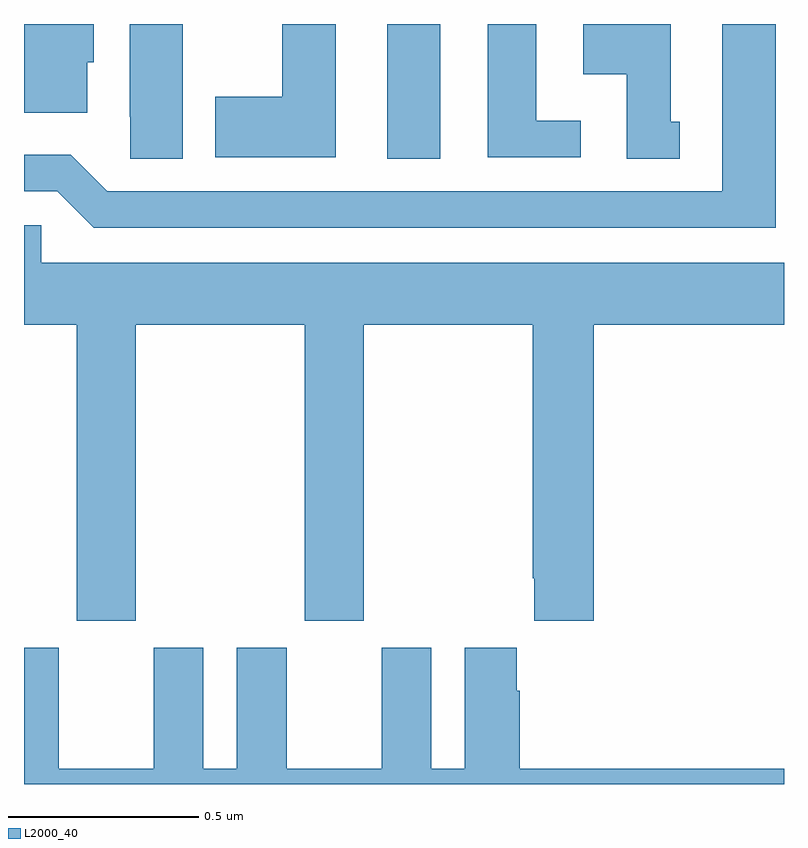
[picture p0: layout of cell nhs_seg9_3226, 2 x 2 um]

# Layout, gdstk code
import gdstk
lib = gdstk.Library(unit=1e-6, precision=1e-09)
def R(c, l, rs):  # rectangles x0, y0, x1, y1
    for r in rs: c.add(gdstk.rectangle(r[:2], r[2:], *l))
def P(c, l, *ps):  # polygons
    for p in ps: c.add(gdstk.Polygon(p, *l))
L2000_40 = (2000, 40)

nhs_seg9_3226 = lib.new_cell('nhs_seg9_3226')
R(nhs_seg9_3226, L2000_40, [(150.956,1242.145,151.096,1242.5)])
P(nhs_seg9_3226, L2000_40, [(150.418,1242.5),(150.278,1242.5),(150.278,1242.256),(150.279,1242.256),(150.279,1242.145),(150.418,1242.145)],
  [(151.726,1242.243),(151.702,1242.243),(151.702,1242.5),(151.472,1242.5),(151.472,1242.368),(151.586,1242.368),(151.586,1242.145),(151.726,1242.145)],
  [(150.166,1242.399),(150.184,1242.399),(150.184,1242.5),(150,1242.5),(150,1242.266),(150.166,1242.266)],
  [(151.465,1242.246),(151.348,1242.246),(151.348,1242.5),(151.22,1242.5),(151.22,1242.15),(151.465,1242.15)],
  [(150.82,1242.5),(150.68,1242.5),(150.68,1242.309),(150.503,1242.309),(150.503,1242.149),(150.82,1242.149)],
  [(151.978,1242.5),(151.838,1242.5),(151.838,1242.06),(150.219,1242.06),(150.123,1242.156),(150,1242.156),(150,1242.06),(150.087,1242.06),(150.183,1241.964),(151.978,1241.964)],
  [(150.294,1241.708),(150.739,1241.708),(150.739,1240.929),(150.894,1240.929),(150.894,1241.708),(151.339,1241.708),(151.339,1241.041),(151.343,1241.041),(151.343,1240.929),(151.499,1240.929),(151.499,1241.708),(152,1241.708),(152,1241.872),(150.045,1241.872),(150.045,1241.97),(150,1241.97),(150,1241.708),(150.139,1241.708),(150.139,1240.929),(150.294,1240.929)],
  [(152,1240.54),(151.304,1240.54),(151.304,1240.745),(151.297,1240.745),(151.297,1240.858),(151.16,1240.858),(151.16,1240.54),(151.072,1240.54),(151.072,1240.858),(150.941,1240.858),(150.941,1240.54),(150.691,1240.54),(150.691,1240.858),(150.56,1240.858),(150.56,1240.54),(150.472,1240.54),(150.472,1240.858),(150.341,1240.858),(150.341,1240.54),(150.091,1240.54),(150.091,1240.858),(150,1240.858),(150,1240.5),(152,1240.5)])

lib.write_gds('nhs_seg9_3226.gds')
